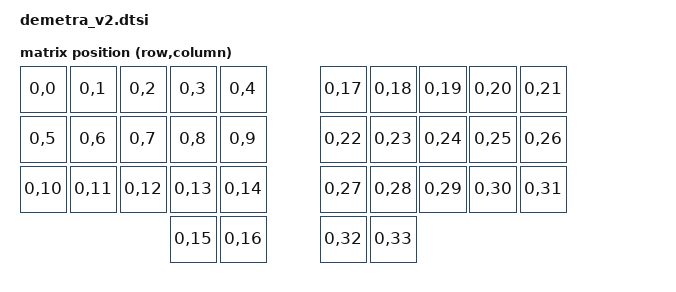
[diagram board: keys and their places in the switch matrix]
/*
 * Copyright (c) 2026 Mattia Buscema
 * SPDX-License-Identifier: MIT
 *
 * Demetra v2 — parte comune alle due metà (HWMv2, ZMK v0.4).
 * Modulo BMD-340 (nRF52840), bootloader Adafruit, nessun quarzo 32kHz (LFCLK RC).
 */

/dts-v1/;
#include <nordic/nrf52840_qiaa.dtsi>
#include <common/nordic/nrf52840_uf2_boot_mode.dtsi>

#include <dt-bindings/zmk/matrix_transform.h>
#include "demetra_v2-layouts.dtsi"

&physical_layout0 {
    transform = <&default_transform>;
};

/ {
    chosen {
        zmk,kscan = &kscan0;
        zmk,physical-layout = &physical_layout0;
        zephyr,code-partition = &code_partition;
        zephyr,sram = &sram0;
        zephyr,flash = &flash0;
    };

    default_transform: keymap_transform_0 {
        compatible = "zmk,matrix-transform";
        columns = <34>;
        rows = <1>;
        map = <
            RC(0,0)  RC(0,1)  RC(0,2)  RC(0,3)  RC(0,4)     RC(0,17) RC(0,18) RC(0,19) RC(0,20) RC(0,21)
            RC(0,5)  RC(0,6)  RC(0,7)  RC(0,8)  RC(0,9)     RC(0,22) RC(0,23) RC(0,24) RC(0,25) RC(0,26)
            RC(0,10) RC(0,11) RC(0,12) RC(0,13) RC(0,14)    RC(0,27) RC(0,28) RC(0,29) RC(0,30) RC(0,31)
                                      RC(0,15) RC(0,16)     RC(0,32) RC(0,33)
        >;
    };
};

/* DCDC su entrambi gli stadi (induttori integrati nel BMD-340, modulo in
   High Voltage mode). REG0 (VDDH->VDD): basta status okay — il binding HV non
   ha la proprietà mode, soc.c attiva DCDCEN0 se il nodo è abilitato.
   REG1 (VDD->core): via regulator-initial-mode, come glove80. */
&reg0 {
    status = "okay";
};

&reg1 {
    regulator-initial-mode = <NRF5X_REG_MODE_DCDC>;
};

&gpio0 { status = "okay"; };
&gpio1 { status = "okay"; };
&gpiote { status = "okay"; };

zephyr_udc0: &usbd {
    status = "okay";
};

&flash0 {
    partitions {
        compatible = "fixed-partitions";
        #address-cells = <1>;
        #size-cells = <1>;

        sd_partition: partition@0 {
            reg = <0x00000000 0x00026000>;
        };
        code_partition: partition@26000 {
            reg = <0x00026000 0x000c6000>;
        };
        storage_partition: partition@ec000 {
            reg = <0x000ec000 0x00008000>;
        };
        boot_partition: partition@f4000 {
            reg = <0x000f4000 0x0000c000>;
        };
    };
};
